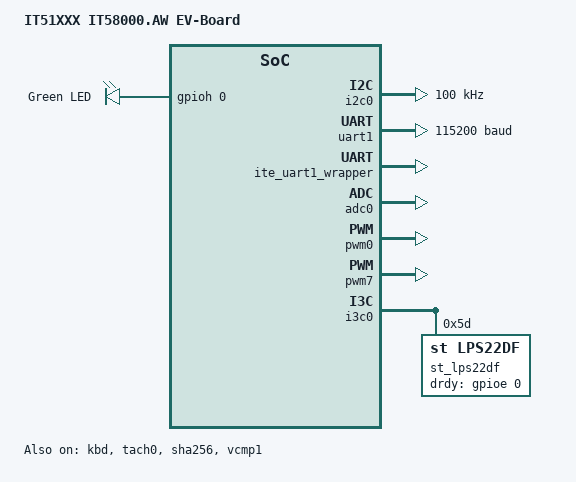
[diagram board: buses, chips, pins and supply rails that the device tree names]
/*
 * Copyright (c) 2026 ITE Corporation. All Rights Reserved.
 *
 * SPDX-License-Identifier: Apache-2.0
 */

/dts-v1/;

#include <zephyr/dt-bindings/gpio/gpio.h>
#include <ite/it58000aw.dtsi>
#include <ite/it58000-pinctrl-map.dts>
#include <ite/it58000-wuc-map.dts>

/ {
	model = "IT51XXX IT58000.AW EV-Board";
	compatible = "ite,it51xxx-evb";

	aliases {
		i2c-0 = &i2c0;
		led0 = &led0;
		watchdog0 = &twd0;
	};

	chosen {
		zephyr,console = &uart1;
		zephyr,shell-uart = &uart1;
		zephyr,sram = &sram0;
		zephyr,flash = &flash0;
		zephyr,flash-controller = &flashctrl;
	};

	leds {
		compatible = "gpio-leds";

		led0: led_0 {
			gpios = <&gpioh 0 GPIO_ACTIVE_HIGH>;
			label = "Green LED";
		};
	};
};

&i2c0 {
	status = "okay";
	clock-frequency = <I2C_BITRATE_STANDARD>;
	pinctrl-0 = <&i2c0_clk_gpf2_default
		     &i2c0_data_gpf3_default>;
	pinctrl-names = "default";
};

&uart1 {
	status = "okay";
	current-speed = <115200>;
	clock-frequency = <1843200>;
	pinctrl-0 = <&uart1_rx_gpc7_default
		     &uart1_tx_gpe6_default>;
	pinctrl-names = "default";
};

&ite_uart1_wrapper {
	status = "okay";
};

&kbd {
	status = "okay";
	pinctrl-0 = <&ksi0_default
		     &ksi1_default
		     &ksi2_default
		     &ksi3_default
		     &ksi4_default
		     &ksi5_default
		     &ksi6_default
		     &ksi7_default
		     &kso0_default
		     &kso1_default
		     &kso2_default
		     &kso3_default
		     &kso4_default
		     &kso5_default
		     &kso6_default
		     &kso7_default
		     &kso8_default
		     &kso9_default
		     &kso10_default
		     &kso11_default
		     &kso12_default
		     &kso13_default
		     &kso14_default
		     &kso15_default>;
	pinctrl-names = "default";
	row-size = <8>;
	col-size = <16>;
};

/* TODO: THINK: depends on CONFIG_ADC */
&adc0 {
	status = "okay";
	pinctrl-0 = <&adc0_ch3_gpi3_default>;
	pinctrl-names = "default";
};

/*
 * test pwm:
 * If we need pwm output in ITE chip power saving mode,
 * then we should set pwm output frequency <=324Hz.
 */
&pwm0 {
	status = "okay";
	prescaler-cx = <PWM_PRESCALER_C6>;
	pinctrl-0 = <&pwm0_gpa0_default>;
	pinctrl-names = "default";
};

/* test fan */
&pwm7 {
	status = "okay";
	prescaler-cx = <PWM_PRESCALER_C4>;
	pinctrl-0 = <&pwm7_gpa7_default>;
	pinctrl-names = "default";
};

/* test fan tachometer sensor */
&tach0 {
	status = "okay";
	input-pin = <IT51XXX_TACH_INPUT_PIN_A>;
	pulses-per-round = <2>;
	pinctrl-0 = <&tach0a_gpd6_default>;
	pinctrl-names = "default";
};

&sha256 {
	status = "okay";
};

/* voltage comparator for test */
&vcmp1 {
	status = "okay";
	threshold-mv = <1500>;
	scan-period = <0x4>;
	io-channels = <&adc0 3>;
};

#include <zephyr/dt-bindings/sensor/lps2xdf.h>

&i3c0 {
	status = "okay";
	pinctrl-0 = <&i3c0_clk_gpj3_default
		     &i3c0_data_gpj4_default>;
	pinctrl-names = "default";
	i3c-scl-hz = <2530000>; // 2.53MHz
	i3c-od-scl-hz = <650000>; // 0.65MHz
	i2c-scl-hz = <400000>;
	i3c-pp-duty-cycle = <84>;
	i3c-scl-tcas = <5>;
	i3c-scl-tcbs = <5>;
	i3c-scl-tcasr = <5>;
	i3c-scl-tcbsr = <5>;

	/* SD0 should be connected to vdd */
	lps22df_1@5d0000020800b4900b {
		compatible = "st,lps22df";
		reg = <0x5d 0x0208 0x00b4900b>;
		label = "st_lps22df";
		odr = <LPS2xDF_DT_ODR_10HZ>;
		lpf = <LPS2xDF_DT_LP_FILTER_ODR_4>;
		avg = <LPS2xDF_DT_AVG_128_SAMPLES>;
		drdy-gpios = <&gpioe 0 0>;
		drdy-pulsed;
		status = "okay";
	};
};
